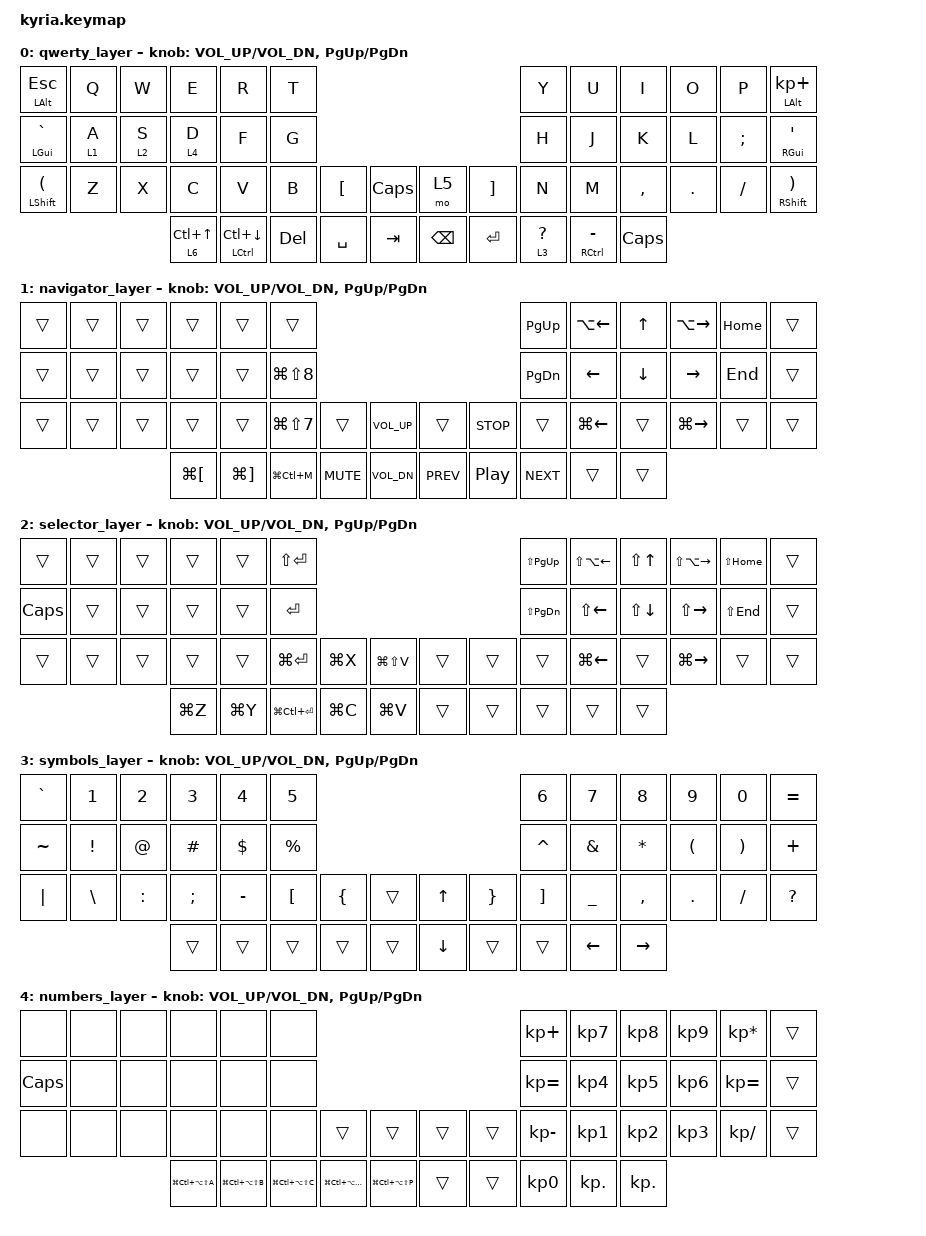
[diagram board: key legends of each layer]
/*
 * Copyright (c) 2020 The ZMK Contributors
 *
 * SPDX-License-Identifier: MIT
 */

#include <behaviors.dtsi>
#include <dt-bindings/zmk/keys.h>

#include <dt-bindings/zmk/bt.h>
#include <dt-bindings/zmk/ext_power.h>
#include <dt-bindings/zmk/outputs.h>

#define QWERTY  0
#define NAVIGATOR	1
#define SELECTOR 2
#define SYMBOLS 3
#define NUMBERS 4



/ {
	behaviors {
	        hm: homerow_mods {
	            compatible = "zmk,behavior-hold-tap";
	            label = "HOMEROW_MODS";
	            #binding-cells = <2>;
	            tapping-term-ms = <200>;
	            quick_tap_ms = <0>;
	            flavor = "tap-preferred";
	            bindings = <&mo>, <&kp>;
	        };
	        fmt: custom_layer_tap {
	            compatible = "zmk,behavior-hold-tap";
	            label = "FAST_MOD_TAP";
	            #binding-cells = <2>;
	            flavor = "tap-preferred";
	            tapping-term-ms = <150>;
	            quick_tap_ms = <0>;
	            bindings = <&kp>, <&kp>;
	        };
	    };
		
	keymap {
		compatible = "zmk,keymap";


		qwerty_layer {
/*
 *
 * Base Layer: QWERTY
 *
 * ,-------------------------------------------.                              ,-------------------------------------------.
 * |ALT/ESC |   Q  |   W  |   E  |   R  |   T  |                              |   Y  |   U  |   I  |   O  |   P  |ALT/+   |
 * |--------+------+------+------+------+------|                              |------+------+------+------+------+--------|
 * |GUI/GRAV|A/NAV |S/SEL | D/NUM|   F  |   G  |                              |   H  |   J  |   K  |   L  | ;  : |RGUI/' "|
 * |--------+------+------+------+------+------+-------------.  ,-------------+------+------+------+------+------+--------|
 * | LShift |   Z  |   X  |   C  |   V  |   B  | [ {  | CAPS |  |F-keys|  ] } |   N  |   M  | ,  < | . >  | /  ? | RShift |
 * `----------------------+------+------+------+------+------|  |------+------+------+------+------+----------------------'	
 *                        |MISION| ShApp| DEL  | Space| TAB  |  | Bksp | ENTER|  ?   |   -  | CAPS |
 *                        |WARRAN| LCTR |      |      |      |  |      |      | SYM  | RCTR |      |
 *                        `----------------------------------'  `----------------------------------'
 */
			bindings = <
     &fmt LALT ESC    &kp Q   &kp W   &kp E        &kp R          &kp T                                              &kp Y       &kp U           &kp I     &kp O   &kp P     &fmt LALT KP_PLUS
     &fmt LGUI GRAVE  &hm 1 A &hm 2 S &hm 4 D      &kp F          &kp G                                              &kp H       &kp J           &kp K     &kp L   &kp SEMI  &fmt RGUI SQT
     &fmt LSHIFT LPAR &kp Z   &kp X   &kp C        &kp V          &kp B   &kp LBKT &kp CAPS      &mo 5    &kp RBKT   &kp N       &kp M           &kp COMMA &kp DOT &kp SLASH &fmt RSHIFT RPAR
                                      &hm 6 LC(UP) &mt LCTRL LC(DOWN) &kp DEL &kp SPACE &kp TAB      &kp BSPC &kp ENTER  &hm 3 QMARK &mt RCTRL MINUS &kp CAPS
			>;

			sensor-bindings = <&inc_dec_kp C_VOL_UP C_VOL_DN &inc_dec_kp PG_UP PG_DN>;
		};
		
		navigator_layer {
/*
 * Nav Layer: Media, navigation
 *
 * ,-------------------------------------------.                              ,-------------------------------------------.
 * |        |      |      |      |      |      |                              | PgUp | Alt← |   ↑  | Alt→ | Home |        |
 * |--------+------+------+------+------+------|                              |------+------+------+------+------+--------|
 * |        |   x  |      |      |      |Bullet|                              | PgDn |  ←   |   ↓  |   →  | End  |        |
 * |--------+------+------+------+------+------+-------------.  ,-------------+------+------+------+------+------+--------|
 * |        |      |      |      |      |NList |      |VolUp |  |      |Pause |      | Gui← |      | Gui→ |      |        |
 * `----------------------+------+------+------+------+------|  |------+------+------+------+------+----------------------'
 *                        |Ind L |Ind R |MicMut|VolMut|VolDn |  |M Prev|M Play|M Next|      |      |
 *                        |      |      |      |      |      |  |      |      |      |      |      |
 *                        `----------------------------------'  `----------------------------------'
 */
			bindings = <
      &trans &trans &trans &trans       &trans       &trans                                                          &kp PG_UP  &kp LA(LEFT) &kp UP   &kp LA(RIGHT) &kp HOME &trans
      &trans &trans &trans &trans       &trans       &kp LG(LS(N8))                                                  &kp PG_DN  &kp LEFT     &kp DOWN &kp RIGHT     &kp END  &trans
      &trans &trans &trans &trans       &trans       &kp LG(LS(N7)) &trans     &kp C_VOL_UP    &trans     &kp C_STOP &trans     &kp LG(LEFT) &trans   &kp LG(RIGHT) &trans   &trans
                           &kp LG(LBKT) &kp LG(RBKT) &kp LG(LC(M))  &kp C_MUTE &kp C_VOL_DN    &kp C_PREV &kp C_PP   &kp C_NEXT &trans       &trans 
			>;

			sensor-bindings = <&inc_dec_kp C_VOL_UP C_VOL_DN &inc_dec_kp PG_UP PG_DN>;
		};

		selector_layer {
/*
 * Nav Layer: Select, copy/paste  ALL of right side is Shift+
 *
 * ,-------------------------------------------.                              ,-------------------------------------------.
 * |        |      |      |      |      |SEnter|                              | PgUp | Alt← |   ↑  | Alt→ | Home |        |
 * |--------+------+------+------+------+------|                              |------+------+------+------+------+--------|
 * | CAPS   |      |   x  |      |      |Enter |                              | PgDn |  ←   |   ↓  |   →  | End  |        |
 * |--------+------+------+------+------+------+-------------.  ,-------------+------+------+------+------+------+--------|
 * |        |      |      |      |      |GEnter| Cut  |PstClr|  |      |      |      | Gui← |      | Gui→ |      |        |
 * `----------------------+------+------+------+------+------|  |------+------+------+------+------+----------------------'
 *                        | Undo | Redo |Linki |Copy  | Paste|  |      |      |      |      |      |
 *                        |      |      |      |      |      |  |      |      |      |      |      |
 *                        `----------------------------------'  `----------------------------------'
 */
			bindings = <
      &trans   &trans &trans &trans    &trans    &kp LS(ENTER)                                            &kp LS(PG_UP) &kp LS(LA(LEFT)) &kp LS(UP)   &kp LS(LA(RIGHT)) &kp LS(HOME) &trans
      &kp CAPS &trans &trans &trans    &trans    &kp ENTER                                                &kp LS(PG_DN) &kp LS(LEFT)     &kp LS(DOWN) &kp LS(RIGHT)     &kp LS(END)  &trans
      &trans   &trans &trans &trans    &trans    &kp LG(ENTER)     &kp LG(X) &kp LG(LS(V))  &trans &trans &trans        &kp LG(LEFT)     &trans       &kp LG(RIGHT)     &trans       &trans
                             &kp LG(Z) &kp LG(Y) &kp LG(LC(ENTER)) &kp LG(C) &kp LG(V)      &trans &trans &trans        &trans           &trans 
			>;

			sensor-bindings = <&inc_dec_kp C_VOL_UP C_VOL_DN &inc_dec_kp PG_UP PG_DN>;
		};
		

		symbols_layer {
/*
 * Sym Layer: Numbers and symbols
 *
 * ,-------------------------------------------.                              ,-------------------------------------------.
 * |    `   |  1   |  2   |  3   |  4   |  5   |                              |   6  |  7   |  8   |  9   |  0   |   =    |
 * |--------+------+------+------+------+------|                              |------+------+------+------+------+--------|
 * |    ~   |  !   |  @   |  #   |  $   |  %   |                              |   ^  |  &   |  *   |  (   |  )   |   +    |
 * |--------+------+------+------+------+------+-------------.  ,-------------+------+------+------+------+------+--------|
 * |    |   |   \  |  :   |  ;   |  -   |  [   |  {   |      |  |   ↑  |   }  |   ]  |  _   |  ,   |  .   |  /   |   ?    |
 * `----------------------+------+-------------+------+------|  |------+------+------+------+------+----------------------'
 *                        |      |      |      |      |      |  |   ↓  |      |   x  |  ←   |  →   |
 *                        |      |      |      |      |      |  |      |      |      |      |      |
 *                        `----------------------------------'  `----------------------------------'
 */
			bindings = <
     &kp GRAVE &kp N1   &kp N2    &kp N3   &kp N4    &kp N5                                        &kp N6    &kp N7    &kp N8     &kp N9   &kp N0   &kp EQUAL
     &kp TILDE &kp EXCL &kp AT    &kp HASH &kp DLLR  &kp PRCNT                                     &kp CARET &kp AMPS  &kp ASTRK  &kp LPAR &kp RPAR &kp PLUS
     &kp PIPE  &kp BSLH &kp COLON &kp SEMI &kp MINUS &kp LBKT &kp LBRC &trans    &kp UP   &kp RBRC &kp RBKT  &kp UNDER &kp COMMA  &kp DOT  &kp FSLH &kp QMARK
                                  &trans   &trans    &trans   &trans   &trans    &kp DOWN &trans   &trans    &kp LEFT  &kp RIGHT
			>;

			sensor-bindings = <&inc_dec_kp C_VOL_UP C_VOL_DN &inc_dec_kp PG_UP PG_DN>;
		};
		

		numbers_layer {
/*
 * NUM Layer: Numbers and symbols
 *
 * ,-------------------------------------------.                              ,-------------------------------------------.
 * |        |      |      |      |      |      |                              |   +  |  7   |  8   |  9   |  *   |        |
 * |--------+------+------+------+------+------|                              |------+------+------+------+------+--------|
 * | CAPS   |      |      |   x  |      |      |                              |   =  |  4   |  5   |  6   |  =   |        |
 * |--------+------+------+------+------+------+-------------.  ,-------------+------+------+------+------+------+--------|
 * |        |      |      |      |      |      |      |      |  |      |      |   -  |  1   |  2   |  3   |  /   |        |
 * `----------------------+------+------+------+------+------|  |------+------+------+------+------+----------------------'
 *                        |Access|Smiley|Thumb | ACopy|APaste|  |      |      |  0   |  .   |  .   |
 *                        |      |      |      |      |      |  |      |      |      |      |      |
 *                        `----------------------------------'  `----------------------------------'
 */
			bindings = <
     &none    &none &none &none                 &none                 &none                                                                              &kp KP_PLUS  &kp KP_N7   &kp KP_N8  &kp KP_N9 &kp KP_ASTERISK  &trans
     &kp CAPS &none &none &none                 &none                 &none                                                                              &kp KP_EQUAL &kp KP_N4   &kp KP_N5  &kp KP_N6 &kp KP_EQUAL     &trans
     &none    &none &none &none                 &none                 &none                 &trans                &trans                   &trans &trans &kp KP_MINUS &kp KP_N1   &kp KP_N2  &kp KP_N3 &kp KP_SLASH     &trans
                          &kp LG(LC(LA(LS(A)))) &kp LG(LC(LA(LS(B)))) &kp LG(LC(LA(LS(C)))) &kp LG(LC(LA(LS(O)))) &kp LG(LC(LA(LS(P))))    &trans &trans &kp KP_N0    &kp KP_DOT  &kp KP_DOT
			>;

			sensor-bindings = <&inc_dec_kp C_VOL_UP C_VOL_DN &inc_dec_kp PG_UP PG_DN>;
		};



	
		
		
		
		
		
	};
};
